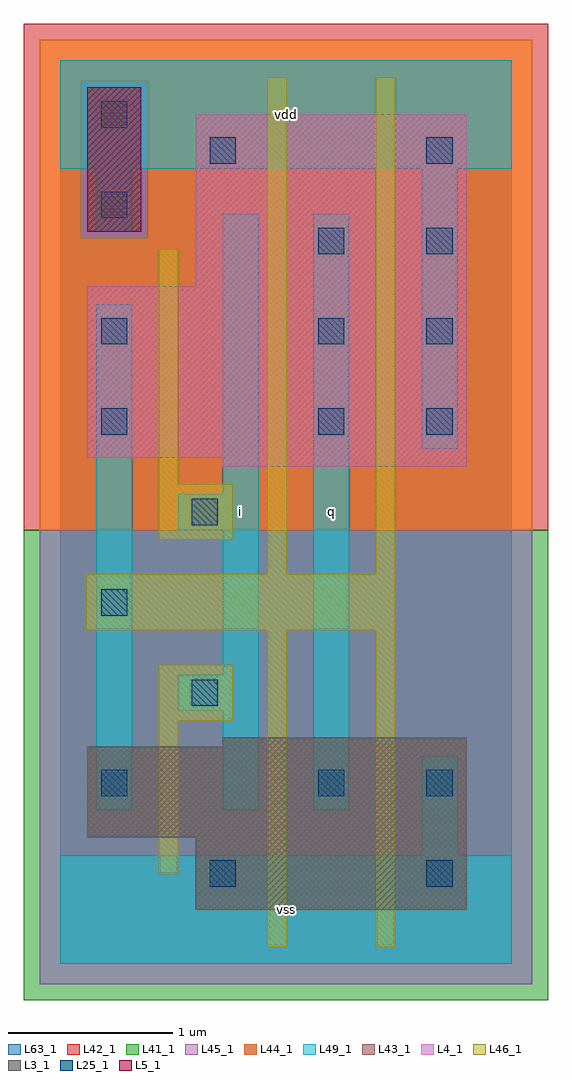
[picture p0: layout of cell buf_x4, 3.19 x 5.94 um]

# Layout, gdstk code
import gdstk
lib = gdstk.Library(unit=1e-6, precision=1e-09)
def R(c, l, rs):  # rectangles x0, y0, x1, y1
    for r in rs: c.add(gdstk.rectangle(r[:2], r[2:], *l))
def A(c, l, x, y, w, h, nx, ny, dx, dy):  # array of equal rectangles
    R(c, l, [(x+i*dx, y+j*dy, x+i*dx+w, y+j*dy+h) for i in range(nx) for j in range(ny)])
L3_1 = (3, 1)
L4_1 = (4, 1)
L5_1 = (5, 1)
L25_1 = (25, 1)
L41_1 = (41, 1)
L42_1 = (42, 1)
L43_1 = (43, 1)
L44_1 = (44, 1)
L45_1 = (45, 1)
L46_1 = (46, 1)
L49_1 = (49, 1)
L63_1 = (63, 1)

buf_x4 = lib.new_cell('buf_x4')
R(buf_x4, L3_1, [(0.825,0.33,2.475,0.77), (0.165,0.77,2.475,1.32), (0.99,1.32,2.475,1.375)])
R(buf_x4, L4_1, [(0.99,3.025,2.475,3.08), (0.165,3.08,2.475,4.125), (0.825,4.125,2.475,5.17)])
R(buf_x4, L5_1, [(0.165,4.455,0.495,5.335)])
A(buf_x4, L25_1, 0.25, 1.02, 0.16, 0.16, 1, 3, 0, 1.1)
A(buf_x4, L25_1, 1.57, 3.22, 0.16, 0.16, 1, 3, 0, 0.55)
A(buf_x4, L25_1, 2.23, 3.22, 0.16, 0.16, 1, 4, 0, 0.55)
R(buf_x4, L25_1, [(0.91,0.47,1.07,0.63), (2.23,0.47,2.39,0.63), (1.57,1.02,1.73,1.18), (2.23,1.02,2.39,1.18), (0.8,1.57,0.96,1.73), (0.8,2.67,0.96,2.83), (0.25,3.77,0.41,3.93), (0.25,4.54,0.41,4.7), (0.91,4.87,1.07,5.03), (0.25,5.09,0.41,5.25)])
R(buf_x4, L41_1, [(-0.22,-0.22,2.97,2.64)])
R(buf_x4, L42_1, [(-0.22,2.64,2.97,5.72)])
R(buf_x4, L43_1, [(0.825,0.33,2.475,0.77), (0.165,0.77,2.475,1.32), (0.99,1.32,2.475,1.375), (0.99,3.025,2.475,3.08), (0.165,3.08,2.475,4.125), (0.825,4.125,2.475,5.17), (0.165,4.455,0.495,5.335)])
R(buf_x4, L44_1, [(-0.125,2.64,2.875,4.415), (-0.125,4.415,0.125,5.375), (0.535,4.415,2.875,5.375), (-0.125,5.375,2.875,5.625)])
R(buf_x4, L45_1, [(-0.125,-0.125,2.875,2.64), (0.125,4.415,0.535,5.375)])
R(buf_x4, L46_1, [(1.26,0.105,1.38,2.03), (1.92,0.105,2.04,2.03), (0.6,0.545,0.72,1.48), (0.6,1.48,1.05,1.82), (0.16,2.03,2.04,2.37), (1.26,2.37,1.38,5.395), (1.92,2.37,2.04,5.395), (0.6,2.58,1.05,2.92), (0.6,2.92,0.72,4.35)])
R(buf_x4, L49_1, [(0,0,2.75,0.66), (2.2,0.66,2.42,1.265), (0.22,0.935,0.44,4.015), (0.99,0.935,1.21,1.54), (1.54,0.935,1.76,4.565), (0.715,1.54,1.21,1.76), (0.99,1.76,1.21,2.64), (0.715,2.64,1.21,2.86), (0.99,2.86,1.21,4.565), (2.2,3.135,2.42,4.84), (0.22,4.455,0.44,4.84), (0,4.84,2.75,5.5)])
R(buf_x4, L63_1, [(0,0,2.75,5.5)])
buf_x4.add(gdstk.Label('i', (1.1,2.75), layer=49, texttype=1))
buf_x4.add(gdstk.Label('vss', (1.375,0.33), layer=49, texttype=1))
buf_x4.add(gdstk.Label('q', (1.65,2.75), layer=49, texttype=1))
buf_x4.add(gdstk.Label('vdd', (1.375,5.17), layer=49, texttype=1))

lib.write_gds('buf_x4.gds')
